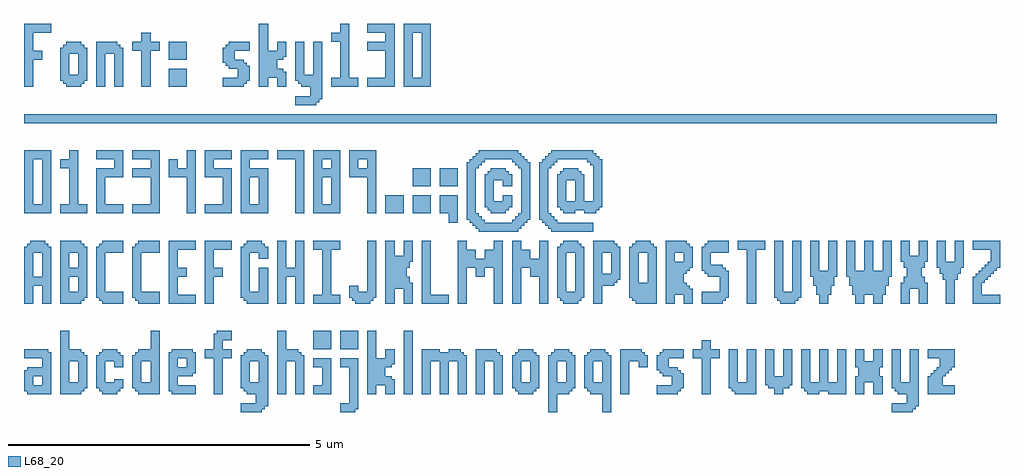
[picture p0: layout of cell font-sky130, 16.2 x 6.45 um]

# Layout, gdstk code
import gdstk
lib = gdstk.Library(unit=1e-6, precision=1e-09)
def R(c, l, rs):  # rectangles x0, y0, x1, y1
    for r in rs: c.add(gdstk.rectangle(r[:2], r[2:], *l))
def A(c, l, x, y, w, h, nx, ny, dx, dy):  # array of equal rectangles
    R(c, l, [(x+i*dx, y+j*dy, x+i*dx+w, y+j*dy+h) for i in range(nx) for j in range(ny)])
L68_20 = (68, 20)

font_a = lib.new_cell('font_a')
R(font_a, L68_20, [(0.05,0,0.45,0.05), (0,0.05,0.45,0.15), (0,0.15,0.15,0.3), (0.3,0.15,0.45,0.3), (0,0.3,0.45,0.4), (0.05,0.4,0.45,0.45), (0.3,0.45,0.45,0.6), (0,0.6,0.45,0.7), (0,0.7,0.4,0.75)])

font_b = lib.new_cell('font_b')
R(font_b, L68_20, [(0.6,0,0.95,0.05), (0.6,0.05,1,0.1), (0.6,0.1,1.05,0.2), (0.6,0.2,0.75,0.55), (0.9,0.2,1.05,0.55), (0.6,0.55,1.05,0.65), (0.6,0.65,1,0.7), (0.6,0.7,0.95,0.75), (0.6,0.75,0.75,1.05)])

font_c = lib.new_cell('font_c')
R(font_c, L68_20, [(1.3,0,1.55,0.05), (1.25,0.05,1.6,0.1), (1.2,0.1,1.65,0.2), (1.2,0.2,1.35,0.55), (1.5,0.2,1.65,0.25), (1.5,0.45,1.65,0.55), (1.2,0.55,1.65,0.65), (1.25,0.65,1.6,0.7), (1.3,0.7,1.55,0.75)])

font_d = lib.new_cell('font_d')
R(font_d, L68_20, [(1.9,0,2.25,0.05), (1.85,0.05,2.25,0.1), (1.8,0.1,2.25,0.2), (1.8,0.2,1.95,0.55), (2.1,0.2,2.25,0.55), (1.8,0.55,2.25,0.65), (1.85,0.65,2.25,0.7), (1.9,0.7,2.25,0.75), (2.1,0.75,2.25,1.05)])

font_f = lib.new_cell('font_f')
R(font_f, L68_20, [(3.15,0,3.3,0.6), (3,0.6,3.45,0.75), (3.15,0.75,3.3,0.9), (3.15,0.9,3.45,1), (3.2,1,3.45,1.05)])

font_e = lib.new_cell('font_e')
R(font_e, L68_20, [(2.45,0,2.85,0.05), (2.4,0.05,2.85,0.15), (2.4,0.15,2.55,0.3), (2.4,0.3,2.8,0.35), (2.4,0.35,2.85,0.45), (2.4,0.45,2.55,0.6), (2.7,0.45,2.85,0.6), (2.4,0.6,2.85,0.7), (2.45,0.7,2.8,0.75)])

font_g = lib.new_cell('font_g')
R(font_g, L68_20, [(3.6,-0.3,3.95,-0.25), (3.6,-0.25,4,-0.2), (3.6,-0.2,4.05,-0.15), (3.85,-0.15,4.05,0), (3.7,0,4.05,0.05), (3.65,0.05,4.05,0.1), (3.6,0.1,4.05,0.2), (3.6,0.2,3.75,0.55), (3.9,0.2,4.05,0.55), (3.6,0.55,4.05,0.65), (3.65,0.65,4,0.7), (3.7,0.7,3.95,0.75)])

font_h = lib.new_cell('font_h')
R(font_h, L68_20, [(4.2,0,4.35,0.55), (4.5,0,4.65,0.55), (4.2,0.55,4.65,0.65), (4.2,0.65,4.6,0.7), (4.2,0.7,4.55,0.75), (4.2,0.75,4.35,1.05)])

font_j = lib.new_cell('font_j')
R(font_j, L68_20, [(5.25,-0.3,5.5,-0.25), (5.25,-0.25,5.55,-0.15), (5.4,-0.15,5.55,0.45), (5.25,0.45,5.55,0.6), (5.25,0.75,5.55,1.05)])

font_i = lib.new_cell('font_i')
R(font_i, L68_20, [(4.8,0,5.1,0.15), (4.95,0.15,5.1,0.45), (4.8,0.45,5.1,0.6), (4.8,0.75,5.1,1.05)])

font_k = lib.new_cell('font_k')
R(font_k, L68_20, [(5.7,0,5.85,0.15), (6,0,6.15,0.15), (5.7,0.15,6.15,0.25), (5.7,0.25,6.1,0.3), (5.7,0.3,6,0.45), (5.7,0.45,6.1,0.5), (5.7,0.5,6.15,0.6), (5.7,0.6,5.85,1.05), (6,0.6,6.15,0.75)])

font_l = lib.new_cell('font_l')
R(font_l, L68_20, [(6.3,0,6.45,1.05)])

font_m = lib.new_cell('font_m')
A(font_m, L68_20, 6.6, 0, 0.15, 0.55, 3, 1, 0.3, 0)
R(font_m, L68_20, [(6.6,0.55,7.35,0.65), (6.6,0.65,7.3,0.7), (6.6,0.7,6.9,0.75), (7.05,0.7,7.25,0.75)])

font_n = lib.new_cell('font_n')
R(font_n, L68_20, [(7.5,0,7.65,0.55), (7.8,0,7.95,0.55), (7.5,0.55,7.95,0.65), (7.5,0.65,7.9,0.7), (7.5,0.7,7.85,0.75)])

font_o = lib.new_cell('font_o')
R(font_o, L68_20, [(8.2,0,8.45,0.05), (8.15,0.05,8.5,0.1), (8.1,0.1,8.55,0.2), (8.1,0.2,8.25,0.55), (8.4,0.2,8.55,0.55), (8.1,0.55,8.55,0.65), (8.15,0.65,8.5,0.7), (8.2,0.7,8.45,0.75)])

font_p = lib.new_cell('font_p')
R(font_p, L68_20, [(8.7,-0.3,8.85,0), (8.7,0,9.05,0.05), (8.7,0.05,9.1,0.1), (8.7,0.1,9.15,0.2), (8.7,0.2,8.85,0.55), (9,0.2,9.15,0.55), (8.7,0.55,9.15,0.65), (8.75,0.65,9.1,0.7), (8.8,0.7,9.05,0.75)])

font_q = lib.new_cell('font_q')
R(font_q, L68_20, [(9.6,-0.3,9.75,0), (9.4,0,9.75,0.05), (9.35,0.05,9.75,0.1), (9.3,0.1,9.75,0.2), (9.3,0.2,9.45,0.55), (9.6,0.2,9.75,0.55), (9.3,0.55,9.75,0.65), (9.35,0.65,9.7,0.7), (9.4,0.7,9.65,0.75)])

font_r = lib.new_cell('font_r')
R(font_r, L68_20, [(9.9,0,10.05,0.55), (10.2,0.45,10.35,0.55), (9.9,0.55,10.35,0.65), (9.9,0.65,10.3,0.7), (9.9,0.7,10.25,0.75)])

font_s = lib.new_cell('font_s')
R(font_s, L68_20, [(10.5,0,10.85,0.05), (10.5,0.05,10.9,0.1), (10.5,0.1,10.95,0.15), (10.75,0.15,10.95,0.3), (10.6,0.3,10.95,0.35), (10.55,0.35,10.9,0.4), (10.5,0.4,10.85,0.45), (10.5,0.45,10.7,0.6), (10.5,0.6,10.95,0.65), (10.55,0.65,10.95,0.7), (10.6,0.7,10.95,0.75)])

font_t = lib.new_cell('font_t')
R(font_t, L68_20, [(11.25,0,11.4,0.6), (11.1,0.6,11.55,0.75), (11.25,0.75,11.4,0.9)])

font_u = lib.new_cell('font_u')
R(font_u, L68_20, [(11.8,0,12.15,0.05), (11.75,0.05,12.15,0.1), (11.7,0.1,12.15,0.2), (11.7,0.2,11.85,0.75), (12,0.2,12.15,0.75)])

font_v = lib.new_cell('font_v')
R(font_v, L68_20, [(12.45,0,12.6,0.1), (12.35,0.1,12.7,0.15), (12.3,0.15,12.75,0.3), (12.3,0.3,12.45,0.75), (12.6,0.3,12.75,0.75)])

font_w = lib.new_cell('font_w')
A(font_w, L68_20, 12.9, 0.2, 0.15, 0.55, 3, 1, 0.3, 0)
R(font_w, L68_20, [(13,0,13.2,0.05), (13.35,0,13.65,0.05), (12.95,0.05,13.65,0.1), (12.9,0.1,13.65,0.2)])

font_x = lib.new_cell('font_x')
R(font_x, L68_20, [(13.8,0,13.95,0.2), (14.1,0,14.25,0.2), (13.8,0.2,14.25,0.3), (13.85,0.3,14.2,0.45), (13.8,0.45,14.25,0.55), (13.8,0.55,13.95,0.75), (14.1,0.55,14.25,0.75)])

font_z = lib.new_cell('font_z')
R(font_z, L68_20, [(15,0,15.45,0.15), (15,0.15,15.25,0.3), (15.05,0.3,15.3,0.35), (15.1,0.35,15.35,0.4), (15.15,0.4,15.4,0.45), (15.2,0.45,15.45,0.6), (15,0.6,15.45,0.75)])

font_y = lib.new_cell('font_y')
R(font_y, L68_20, [(14.4,-0.3,14.75,-0.25), (14.4,-0.25,14.8,-0.2), (14.4,-0.2,14.85,-0.15), (14.65,-0.15,14.85,0), (14.5,0,14.85,0.05), (14.45,0.05,14.85,0.1), (14.4,0.1,14.85,0.2), (14.4,0.2,14.55,0.75), (14.7,0.2,14.85,0.75)])

c_font_b = lib.new_cell('font_B')
R(c_font_b, L68_20, [(0.6,1.5,0.95,1.55), (0.6,1.55,1,1.6), (0.6,1.6,1.05,1.7), (0.6,1.7,0.75,1.95), (0.9,1.7,1.05,1.95), (0.6,1.95,1.05,2.1), (0.6,2.1,0.75,2.35), (0.9,2.1,1.05,2.35), (0.6,2.35,1.05,2.45), (0.6,2.45,1,2.5), (0.6,2.5,0.95,2.55)])

c_font_a = lib.new_cell('font_A')
R(c_font_a, L68_20, [(0,1.5,0.15,1.8), (0.3,1.5,0.45,1.8), (0,1.8,0.45,1.95), (0,1.95,0.15,2.35), (0.3,1.95,0.45,2.35), (0,2.35,0.45,2.45), (0.05,2.45,0.4,2.5), (0.1,2.5,0.35,2.55)])

font_1 = lib.new_cell('font_1')
R(font_1, L68_20, [(0.6,3,1.05,3.15), (0.75,3.15,0.9,3.75), (0.6,3.75,0.9,3.9), (0.75,3.9,0.9,4.05)])

font_0 = lib.new_cell('font_0')
R(font_0, L68_20, [(0,3,0.45,3.15), (0,3.15,0.15,3.9), (0.3,3.15,0.45,3.9), (0,3.9,0.45,4.05)])

c_font_d = lib.new_cell('font_D')
R(c_font_d, L68_20, [(1.3,1.5,1.65,1.55), (1.25,1.55,1.65,1.6), (1.2,1.6,1.65,1.7), (1.2,1.7,1.35,2.35), (1.2,2.35,1.65,2.45), (1.25,2.45,1.65,2.5), (1.3,2.5,1.65,2.55)])

c_font_c = lib.new_cell('font_C')
R(c_font_c, L68_20, [(1.3,1.5,1.65,1.55), (1.25,1.55,1.65,1.6), (1.2,1.6,1.65,1.7), (1.2,1.7,1.35,2.35), (1.2,2.35,1.65,2.45), (1.25,2.45,1.65,2.5), (1.3,2.5,1.65,2.55)])

c_font_f = lib.new_cell('font_F')
R(c_font_f, L68_20, [(3,1.5,3.15,1.95), (3,1.95,3.3,2.1), (3,2.1,3.15,2.4), (3,2.4,3.45,2.55)])

c_font_e = lib.new_cell('font_E')
R(c_font_e, L68_20, [(2.4,1.5,2.85,1.65), (2.4,1.65,2.55,1.95), (2.4,1.95,2.7,2.1), (2.4,2.1,2.55,2.4), (2.4,2.4,2.85,2.55)])

font_3 = lib.new_cell('font_3')
R(font_3, L68_20, [(1.8,3,2.25,3.15), (2.1,3.15,2.25,3.6), (1.8,3.6,2.25,3.75), (2.1,3.75,2.25,3.9), (1.8,3.9,2.25,4.05)])

font_2 = lib.new_cell('font_2')
R(font_2, L68_20, [(1.2,3,1.65,3.15), (1.2,3.15,1.35,3.6), (1.2,3.6,1.65,3.75), (1.5,3.75,1.65,3.9), (1.2,3.9,1.65,4.05)])

font_5 = lib.new_cell('font_5')
R(font_5, L68_20, [(3,3,3.45,3.15), (3.3,3.15,3.45,3.6), (3,3.6,3.45,3.75), (3,3.75,3.15,3.9), (3,3.9,3.45,4.05)])

font_4 = lib.new_cell('font_4')
R(font_4, L68_20, [(2.7,3,2.85,3.6), (2.4,3.6,2.85,3.75), (2.4,3.75,2.55,3.9), (2.7,3.75,2.85,4.05)])

c_font_h = lib.new_cell('font_H')
R(c_font_h, L68_20, [(4.2,1.5,4.35,1.95), (4.5,1.5,4.65,1.95), (4.2,1.95,4.65,2.1), (4.2,2.1,4.35,2.55), (4.5,2.1,4.65,2.55)])

c_font_g = lib.new_cell('font_G')
R(c_font_g, L68_20, [(3.7,1.5,4.05,1.55), (3.65,1.55,4.05,1.6), (3.6,1.6,4.05,1.7), (3.6,1.7,3.75,2.35), (3.9,1.7,4.05,2.1), (3.9,2.25,4.05,2.35), (3.6,2.35,4.05,2.45), (3.65,2.45,4,2.5), (3.7,2.5,3.95,2.55)])

c_font_i = lib.new_cell('font_I')
R(c_font_i, L68_20, [(4.8,1.5,5.25,1.65), (4.95,1.65,5.1,2.4), (4.8,2.4,5.25,2.55)])

c_font_j = lib.new_cell('font_J')
R(c_font_j, L68_20, [(5.5,1.5,5.75,1.55), (5.45,1.55,5.8,1.6), (5.4,1.6,5.85,1.7), (5.4,1.7,5.55,1.8), (5.7,1.7,5.85,2.55)])

font_7 = lib.new_cell('font_7')
R(font_7, L68_20, [(4.5,3,4.65,3.9), (4.2,3.9,4.65,4.05)])

font_6 = lib.new_cell('font_6')
R(font_6, L68_20, [(3.6,3,4.05,3.15), (3.6,3.15,3.75,3.6), (3.9,3.15,4.05,3.6), (3.6,3.6,4.05,3.75), (3.6,3.75,3.75,3.9), (3.6,3.9,4.05,4.05)])

font_8 = lib.new_cell('font_8')
R(font_8, L68_20, [(4.8,3,5.25,3.15), (4.8,3.15,4.95,3.6), (5.1,3.15,5.25,3.6), (4.8,3.6,5.25,3.75), (4.8,3.75,4.95,3.9), (5.1,3.75,5.25,3.9), (4.8,3.9,5.25,4.05)])

font_9 = lib.new_cell('font_9')
R(font_9, L68_20, [(5.7,3,5.85,3.6), (5.4,3.6,5.85,3.75), (5.4,3.75,5.55,3.9), (5.7,3.75,5.85,3.9), (5.4,3.9,5.85,4.05)])

font_copyright = lib.new_cell('font_copyright')
R(font_copyright, L68_20, [(7.55,7.2,8.2,7.25), (7.5,7.25,8.25,7.3), (7.45,7.3,8.3,7.35), (7.4,7.35,7.65,7.4), (8.1,7.35,8.35,7.4), (7.35,7.4,7.6,7.45), (8.15,7.4,8.4,7.45), (7.35,7.45,7.55,7.5), (8.2,7.45,8.4,7.5), (7.35,7.5,7.5,8.25), (7.75,7.5,8,7.55), (8.25,7.5,8.4,8.25), (7.7,7.55,8.05,7.6), (7.65,7.6,8.1,7.7), (7.65,7.7,7.8,8.05), (7.95,7.7,8.1,7.8), (7.95,7.95,8.1,8.05), (7.65,8.05,8.1,8.15), (7.7,8.15,8.05,8.2), (7.75,8.2,8,8.25), (7.35,8.25,7.55,8.3), (8.2,8.25,8.4,8.3), (7.35,8.3,7.6,8.35), (8.15,8.3,8.4,8.35), (7.4,8.35,7.65,8.4), (8.1,8.35,8.35,8.4), (7.45,8.4,8.3,8.45), (7.5,8.45,8.25,8.5), (7.55,8.5,8.2,8.55)])

font_semicolon = lib.new_cell('font_semicolon')
R(font_semicolon, L68_20, [(7.05,7.35,7.2,7.5), (6.9,7.5,7.2,7.8), (6.9,7.95,7.2,8.25)])

font_colon = lib.new_cell('font_colon')
R(font_colon, L68_20, [(6.45,7.5,6.75,7.8), (6.45,7.95,6.75,8.25)])

c_font_k = lib.new_cell('font_K')
R(c_font_k, L68_20, [(6,1.5,6.15,1.75), (6.3,1.5,6.45,1.75), (6,1.75,6.45,1.85), (6,1.85,6.4,1.95), (6,1.95,6.35,2.1), (6,2.1,6.4,2.2), (6,2.2,6.45,2.3), (6,2.3,6.15,2.55), (6.3,2.3,6.45,2.55)])

c_font_m = lib.new_cell('font_M')
R(c_font_m, L68_20, [(7.2,1.5,7.35,2.1), (7.8,1.5,7.95,2.1), (7.5,1.95,7.65,2.1), (7.2,2.1,7.95,2.25), (7.2,2.25,7.5,2.4), (7.65,2.25,7.95,2.4), (7.2,2.4,7.35,2.55), (7.8,2.4,7.95,2.55)])

c_font_l = lib.new_cell('font_L')
R(c_font_l, L68_20, [(6.6,1.5,7.05,1.65), (6.6,1.65,6.75,2.55)])

c_font_n = lib.new_cell('font_N')
R(c_font_n, L68_20, [(8.1,1.5,8.25,2.1), (8.55,1.5,8.7,1.95), (8.4,1.95,8.7,2.1), (8.1,2.1,8.7,2.25), (8.1,2.25,8.4,2.4), (8.55,2.25,8.7,2.55), (8.1,2.4,8.25,2.55)])

font__ = lib.new_cell('font_.')
R(font__, L68_20, [(15.6,0,15.9,0.3)])

font_at = lib.new_cell('font_at')
R(font_at, L68_20, [(8.75,7.2,9.45,7.25), (8.7,7.25,9.45,7.3), (8.65,7.3,9.45,7.35), (8.6,7.35,8.85,7.4), (8.55,7.4,8.8,7.45), (8.55,7.45,8.75,7.5), (8.55,7.5,8.7,8.25), (8.95,7.5,9.15,7.55), (9.3,7.5,9.5,7.55), (8.9,7.55,9.55,7.6), (8.85,7.6,9.6,7.7), (8.85,7.7,9,8.05), (9.15,7.7,9.3,8.05), (9.45,7.7,9.6,8.3), (8.85,8.05,9.3,8.15), (8.9,8.15,9.25,8.2), (8.95,8.2,9.2,8.25), (8.55,8.25,8.75,8.3), (8.55,8.3,8.8,8.35), (9.4,8.3,9.6,8.35), (8.6,8.35,8.85,8.4), (9.35,8.35,9.6,8.4), (8.65,8.4,9.55,8.45), (8.7,8.45,9.5,8.5), (8.75,8.5,9.45,8.55)])

c_font_p = lib.new_cell('font_P')
R(c_font_p, L68_20, [(9.45,1.5,9.6,1.8), (9.45,1.8,9.8,1.85), (9.45,1.85,9.85,1.9), (9.45,1.9,9.9,2), (9.45,2,9.6,2.35), (9.75,2,9.9,2.35), (9.45,2.35,9.9,2.45), (9.45,2.45,9.85,2.5), (9.45,2.5,9.8,2.55)])

c_font_o = lib.new_cell('font_O')
R(c_font_o, L68_20, [(8.95,1.5,9.2,1.55), (8.9,1.55,9.25,1.6), (8.85,1.6,9.3,1.7), (8.85,1.7,9,2.35), (9.15,1.7,9.3,2.35), (8.85,2.35,9.3,2.45), (8.9,2.45,9.25,2.5), (8.95,2.5,9.2,2.55)])

c_font_q = lib.new_cell('font_Q')
R(c_font_q, L68_20, [(10.15,1.5,10.5,1.55), (10.1,1.55,10.5,1.6), (10.05,1.6,10.5,1.85), (10.05,1.85,10.2,2.35), (10.35,1.85,10.5,2.35), (10.05,2.35,10.5,2.45), (10.1,2.45,10.45,2.5), (10.15,2.5,10.4,2.55)])

c_font_r = lib.new_cell('font_R')
R(c_font_r, L68_20, [(10.65,1.5,10.8,1.65), (10.95,1.5,11.1,1.65), (10.65,1.65,11.1,1.75), (10.65,1.75,11.05,1.8), (10.65,1.8,11,1.85), (10.65,1.85,10.95,2), (10.65,2,11,2.05), (10.65,2.05,11.05,2.1), (10.65,2.1,11.1,2.2), (10.65,2.2,10.8,2.35), (10.95,2.2,11.1,2.35), (10.65,2.35,11.1,2.45), (10.65,2.45,11.05,2.5), (10.65,2.5,11,2.55)])

c_font_t = lib.new_cell('font_T')
R(c_font_t, L68_20, [(12,1.5,12.15,2.4), (11.85,2.4,12.3,2.55)])

c_font_s = lib.new_cell('font_S')
R(c_font_s, L68_20, [(11.25,1.5,11.6,1.55), (11.25,1.55,11.65,1.6), (11.25,1.6,11.7,1.7), (11.55,1.7,11.7,1.95), (11.35,1.95,11.7,2), (11.3,2,11.7,2.05), (11.25,2.05,11.65,2.1), (11.25,2.1,11.6,2.15), (11.25,2.15,11.4,2.35), (11.25,2.35,11.7,2.45), (11.3,2.45,11.7,2.5), (11.35,2.5,11.7,2.55)])

c_font_u = lib.new_cell('font_U')
R(c_font_u, L68_20, [(12.55,1.5,12.8,1.55), (12.5,1.55,12.85,1.6), (12.45,1.6,12.9,1.7), (12.45,1.7,12.6,2.55), (12.75,1.7,12.9,2.55)])

c_font_w = lib.new_cell('font_W')
A(c_font_w, L68_20, 13.65, 2.05, 0.15, 0.5, 3, 1, 0.3, 0)
R(c_font_w, L68_20, [(13.8,1.5,13.95,1.65), (14.1,1.5,14.25,1.65), (13.75,1.65,14.3,1.8), (13.7,1.8,14.35,1.95), (13.65,1.95,14.4,2.05)])

c_font_v = lib.new_cell('font_V')
R(c_font_v, L68_20, [(13.2,1.5,13.35,1.65), (13.15,1.65,13.4,1.8), (13.1,1.8,13.45,1.95), (13.05,1.95,13.5,2.05), (13.05,2.05,13.2,2.55), (13.35,2.05,13.5,2.55)])

c_font_x = lib.new_cell('font_X')
R(c_font_x, L68_20, [(14.55,1.5,14.7,1.75), (14.85,1.5,15,1.75), (14.55,1.75,15,1.85), (14.6,1.85,14.95,1.95), (14.65,1.95,14.9,2.1), (14.6,2.1,14.95,2.2), (14.55,2.2,15,2.3), (14.55,2.3,14.7,2.55), (14.85,2.3,15,2.55)])

c_font_z = lib.new_cell('font_Z')
R(c_font_z, L68_20, [(15.75,1.5,16.2,1.65), (15.75,1.65,15.9,1.85), (15.75,1.85,15.95,1.9), (15.75,1.9,16,1.95), (15.8,1.95,16.05,2), (15.85,2,16.1,2.05), (15.9,2.05,16.15,2.1), (15.95,2.1,16.2,2.15), (16,2.15,16.2,2.2), (16.05,2.2,16.2,2.4), (15.75,2.4,16.2,2.55)])

c_font_y = lib.new_cell('font_Y')
R(c_font_y, L68_20, [(15.3,1.5,15.45,1.9), (15.25,1.9,15.5,2), (15.2,2,15.55,2.1), (15.15,2.1,15.6,2.2), (15.15,2.2,15.3,2.55), (15.45,2.2,15.6,2.55)])

font_sky130 = lib.new_cell('font-sky130')
R(font_sky130, L68_20, [(0,9,16.15,9.15)])
font_sky130.add(gdstk.Reference(font_a, (0,4.5)))
font_sky130.add(gdstk.Reference(font_b, (0,4.5)))
font_sky130.add(gdstk.Reference(font_c, (0,4.5)))
font_sky130.add(gdstk.Reference(font_d, (0,4.5)))
font_sky130.add(gdstk.Reference(font_f, (0,4.5)))
font_sky130.add(gdstk.Reference(font_e, (0,4.5)))
font_sky130.add(gdstk.Reference(font_g, (0,4.5)))
font_sky130.add(gdstk.Reference(font_h, (0,4.5)))
font_sky130.add(gdstk.Reference(font_j, (0,4.5)))
font_sky130.add(gdstk.Reference(font_i, (0,4.5)))
font_sky130.add(gdstk.Reference(font_k, (0,4.5)))
font_sky130.add(gdstk.Reference(font_l, (0,4.5)))
font_sky130.add(gdstk.Reference(font_m, (0,4.5)))
font_sky130.add(gdstk.Reference(font_n, (0,4.5)))
font_sky130.add(gdstk.Reference(font_o, (0,4.5)))
font_sky130.add(gdstk.Reference(font_p, (0,4.5)))
font_sky130.add(gdstk.Reference(font_q, (0,4.5)))
font_sky130.add(gdstk.Reference(font_r, (0,4.5)))
font_sky130.add(gdstk.Reference(font_s, (0,4.5)))
font_sky130.add(gdstk.Reference(font_t, (0,4.5)))
font_sky130.add(gdstk.Reference(font_u, (0,4.5)))
font_sky130.add(gdstk.Reference(font_v, (0,4.5)))
font_sky130.add(gdstk.Reference(font_w, (0,4.5)))
font_sky130.add(gdstk.Reference(font_x, (0,4.5)))
font_sky130.add(gdstk.Reference(font_z, (0,4.5)))
font_sky130.add(gdstk.Reference(font_y, (0,4.5)))
font_sky130.add(gdstk.Reference(c_font_b, (0,4.5)))
font_sky130.add(gdstk.Reference(c_font_a, (0,4.5)))
font_sky130.add(gdstk.Reference(font_1, (0,4.5)))
font_sky130.add(gdstk.Reference(font_0, (0,4.5)))
font_sky130.add(gdstk.Reference(c_font_d, (0.6,4.5)))
font_sky130.add(gdstk.Reference(c_font_c, (0,4.5)))
font_sky130.add(gdstk.Reference(c_font_f, (0,4.5)))
font_sky130.add(gdstk.Reference(c_font_e, (0,4.5)))
font_sky130.add(gdstk.Reference(font_3, (0,4.5)))
font_sky130.add(gdstk.Reference(font_2, (0,4.5)))
font_sky130.add(gdstk.Reference(font_5, (0,4.5)))
font_sky130.add(gdstk.Reference(font_4, (0,4.5)))
font_sky130.add(gdstk.Reference(c_font_h, (0,4.5)))
font_sky130.add(gdstk.Reference(c_font_g, (0,4.5)))
font_sky130.add(gdstk.Reference(c_font_i, (0,4.5)))
font_sky130.add(gdstk.Reference(c_font_j, (0,4.5)))
font_sky130.add(gdstk.Reference(font_7, (0,4.5)))
font_sky130.add(gdstk.Reference(font_6, (0,4.5)))
font_sky130.add(gdstk.Reference(font_8, (0,4.5)))
font_sky130.add(gdstk.Reference(font_9, (0,4.5)))
font_sky130.add(gdstk.Reference(font_copyright, (0,0)))
font_sky130.add(gdstk.Reference(font_semicolon, (0,0)))
font_sky130.add(gdstk.Reference(font_colon, (0,0)))
font_sky130.add(gdstk.Reference(c_font_k, (0,4.5)))
font_sky130.add(gdstk.Reference(c_font_m, (0,4.5)))
font_sky130.add(gdstk.Reference(c_font_l, (0,4.5)))
font_sky130.add(gdstk.Reference(c_font_n, (0,4.5)))
font_sky130.add(gdstk.Reference(font__, (-9.6,7.5)))
font_sky130.add(gdstk.Reference(font_at, (0,0)))
font_sky130.add(gdstk.Reference(c_font_p, (0,4.5)))
font_sky130.add(gdstk.Reference(c_font_o, (0,4.5)))
font_sky130.add(gdstk.Reference(c_font_q, (0,4.5)))
font_sky130.add(gdstk.Reference(c_font_r, (0,4.5)))
font_sky130.add(gdstk.Reference(c_font_t, (0,4.5)))
font_sky130.add(gdstk.Reference(c_font_s, (0,4.5)))
font_sky130.add(gdstk.Reference(c_font_u, (0,4.5)))
font_sky130.add(gdstk.Reference(c_font_w, (0,4.5)))
font_sky130.add(gdstk.Reference(c_font_v, (0,4.5)))
font_sky130.add(gdstk.Reference(c_font_x, (0,4.5)))
font_sky130.add(gdstk.Reference(c_font_z, (0,4.5)))
font_sky130.add(gdstk.Reference(c_font_y, (0,4.5)))
font_sky130.add(gdstk.Reference(font_o, (-7.5,9.6)))
font_sky130.add(gdstk.Reference(c_font_f, (-3,8.1)))
font_sky130.add(gdstk.Reference(font_s, (-7.2,9.6)))
font_sky130.add(gdstk.Reference(font_colon, (-4.05,2.1)))
font_sky130.add(gdstk.Reference(font_t, (-9.3,9.6)))
font_sky130.add(gdstk.Reference(font_n, (-6.3,9.6)))
font_sky130.add(gdstk.Reference(font_3, (3.9,6.6)))
font_sky130.add(gdstk.Reference(font_1, (4.5,6.6)))
font_sky130.add(gdstk.Reference(font_y, (-9.9,9.6)))
font_sky130.add(gdstk.Reference(font_k, (-1.8,9.6)))
font_sky130.add(gdstk.Reference(font_0, (6.3,6.6)))

lib.write_gds('font-sky130.gds')
